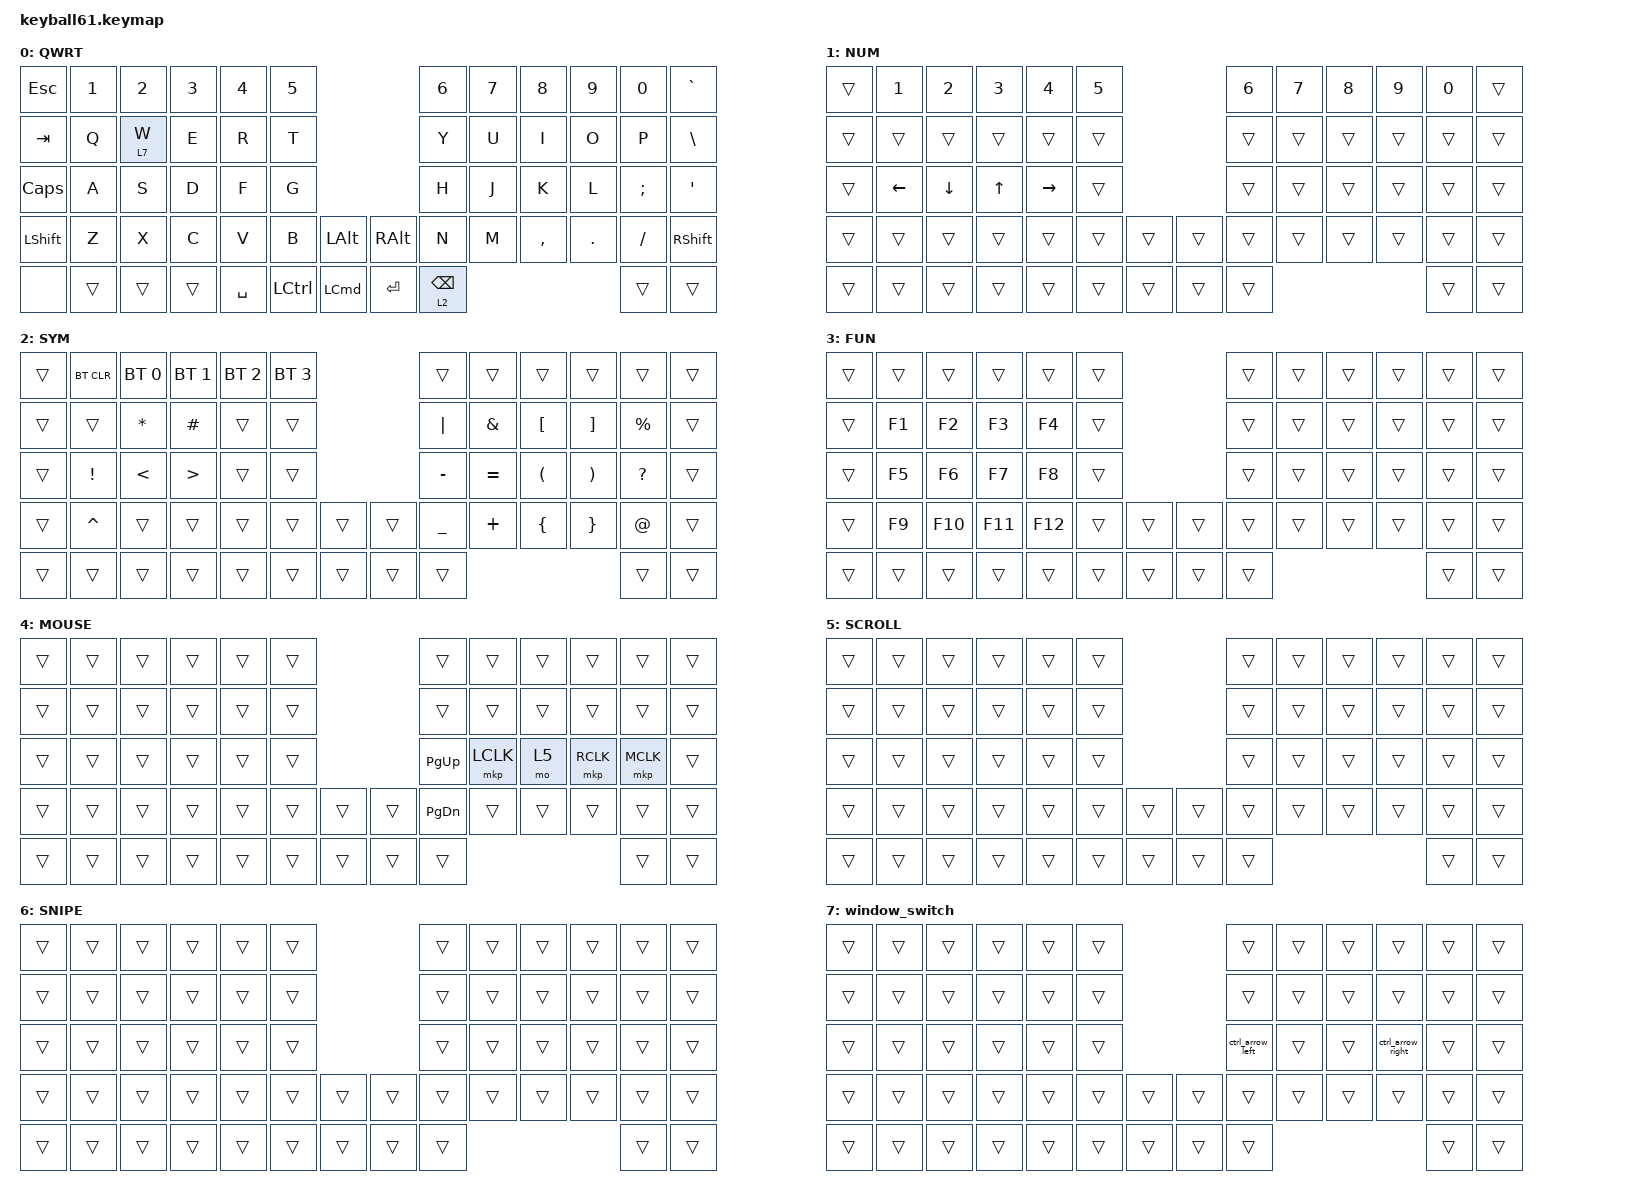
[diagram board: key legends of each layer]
#define DEFAULT 0
#define SYM     1
#define FUN     2
#define MOUSE   3
#define SCROLL  4
#define SNIPE   5

#include <behaviors/mouse_keys.dtsi>
#include <dt-bindings/zmk/mouse.h>
#include <behaviors.dtsi>
#include <dt-bindings/zmk/bt.h>
#include <dt-bindings/zmk/keys.h>
#include <dt-bindings/zmk/pointing.h>

&nice_view_spi { cs-gpios = <&pro_micro 1 GPIO_ACTIVE_HIGH>; };

&lt {
    tapping-term-ms = <240>;
    flavor = "balanced";
    quick-tap-ms = <150>;
};

&mt {
    tapping-term-ms = <200>;
    flavor = "tap-preferred";
    quick-tap-ms = <150>;
};

/ {
    combos { compatible = "zmk,combos"; };

    macros {
        ctrl_arrow_left: ctrl_arrow_left {
            compatible = "zmk,behavior-macro";
            #binding-cells = <0>;
            bindings =
                <&macro_press>,
                <&kp LEFT_CONTROL>,
                <&macro_tap>,
                <&kp LEFT_ARROW>,
                <&macro_release>,
                <&kp LEFT_CONTROL>;

            label = "CTRL_ARROW_LEFT";
        };

        ctrl_arrow_right: ctrl_arrow_right {
            compatible = "zmk,behavior-macro";
            #binding-cells = <0>;
            bindings =
                <&macro_press>,
                <&kp LEFT_CONTROL>,
                <&macro_tap>,
                <&kp RIGHT_ARROW>,
                <&macro_release>,
                <&kp LEFT_CONTROL>;

            label = "CTRL_ARROW_RIGHT";
        };
    };

    keymap {
        compatible = "zmk,keymap";

        default_layer {
            label = "QWRT";
            bindings = <
&kp ESC         &kp N1  &kp N2   &kp N3  &kp N4     &kp N5                                             &kp N6           &kp N7  &kp N8     &kp N9   &kp N0    &kp GRAVE
&kp TAB         &kp Q   &lt 7 W  &kp E   &kp R      &kp T                                              &kp Y            &kp U   &kp I      &kp O    &kp P     &kp BACKSLASH
&kp CAPS        &kp A   &kp S    &kp D   &kp F      &kp G                                              &kp H            &kp J   &kp K      &kp L    &kp SEMI  &kp SQT
&kp LEFT_SHIFT  &kp Z   &kp X    &kp C   &kp V      &kp B             &kp LEFT_ALT      &kp RIGHT_ALT  &kp N            &kp M   &kp COMMA  &kp DOT  &kp FSLH  &kp RIGHT_SHIFT
&none           &trans  &trans   &trans  &kp SPACE  &kp LEFT_CONTROL  &kp LEFT_COMMAND  &kp ENTER      &lt 2 BACKSPACE                              &trans    &trans
            >;
        };

        number_layer {
            bindings = <
&trans  &kp N1    &kp N2    &kp N3  &kp N4     &kp N5                  &kp N6  &kp N7  &kp N8  &kp N9  &kp N0  &trans
&trans  &trans    &trans    &trans  &trans     &trans                  &trans  &trans  &trans  &trans  &trans  &trans
&trans  &kp LEFT  &kp DOWN  &kp UP  &kp RIGHT  &trans                  &trans  &trans  &trans  &trans  &trans  &trans
&trans  &trans    &trans    &trans  &trans     &trans  &trans  &trans  &trans  &trans  &trans  &trans  &trans  &trans
&trans  &trans    &trans    &trans  &trans     &trans  &trans  &trans  &trans                          &trans  &trans
            >;

            label = "NUM";
        };

        symbol_layer {
            label = "SYM";
            bindings = <
&trans  &bt BT_CLR       &bt BT_SEL 0   &bt BT_SEL 1      &bt BT_SEL 2  &bt BT_SEL 3                  &trans          &trans         &trans                &trans                 &trans        &trans
&trans  &trans           &kp ASTERISK   &kp HASH          &trans        &trans                        &kp PIPE        &kp AMPERSAND  &kp LEFT_BRACKET      &kp RIGHT_BRACKET      &kp PERCENT   &trans
&trans  &kp EXCLAMATION  &kp LESS_THAN  &kp GREATER_THAN  &trans        &trans                        &kp MINUS       &kp EQUAL      &kp LEFT_PARENTHESIS  &kp RIGHT_PARENTHESIS  &kp QUESTION  &trans
&trans  &kp CARET        &trans         &trans            &trans        &trans        &trans  &trans  &kp UNDERSCORE  &kp PLUS       &kp LEFT_BRACE        &kp RIGHT_BRACE        &kp AT        &trans
&trans  &trans           &trans         &trans            &trans        &trans        &trans  &trans  &trans                                                                      &trans        &trans
            >;
        };

        function_layer {
            label = "FUN";
            bindings = <
&trans  &trans  &trans   &trans   &trans   &trans                  &trans  &trans  &trans  &trans  &trans  &trans
&trans  &kp F1  &kp F2   &kp F3   &kp F4   &trans                  &trans  &trans  &trans  &trans  &trans  &trans
&trans  &kp F5  &kp F6   &kp F7   &kp F8   &trans                  &trans  &trans  &trans  &trans  &trans  &trans
&trans  &kp F9  &kp F10  &kp F11  &kp F12  &trans  &trans  &trans  &trans  &trans  &trans  &trans  &trans  &trans
&trans  &trans  &trans   &trans   &trans   &trans  &trans  &trans  &trans                          &trans  &trans
            >;
        };

        mouse_layer {
            label = "MOUSE";
            bindings = <
&trans  &trans  &trans  &trans  &trans  &trans                  &trans         &trans     &trans  &trans     &trans     &trans
&trans  &trans  &trans  &trans  &trans  &trans                  &trans         &trans     &trans  &trans     &trans     &trans
&trans  &trans  &trans  &trans  &trans  &trans                  &kp PAGE_UP    &mkp LCLK  &mo 5   &mkp RCLK  &mkp MCLK  &trans
&trans  &trans  &trans  &trans  &trans  &trans  &trans  &trans  &kp PAGE_DOWN  &trans     &trans  &trans     &trans     &trans
&trans  &trans  &trans  &trans  &trans  &trans  &trans  &trans  &trans                                       &trans     &trans
            >;
        };

        scroll_layer {
            label = "SCROLL";
            bindings = <
&trans  &trans  &trans  &trans  &trans  &trans                  &trans  &trans  &trans  &trans  &trans  &trans
&trans  &trans  &trans  &trans  &trans  &trans                  &trans  &trans  &trans  &trans  &trans  &trans
&trans  &trans  &trans  &trans  &trans  &trans                  &trans  &trans  &trans  &trans  &trans  &trans
&trans  &trans  &trans  &trans  &trans  &trans  &trans  &trans  &trans  &trans  &trans  &trans  &trans  &trans
&trans  &trans  &trans  &trans  &trans  &trans  &trans  &trans  &trans                          &trans  &trans
            >;
        };

        snipe_layer {
            label = "SNIPE";
            bindings = <
&trans  &trans  &trans  &trans  &trans  &trans                  &trans  &trans  &trans  &trans  &trans  &trans
&trans  &trans  &trans  &trans  &trans  &trans                  &trans  &trans  &trans  &trans  &trans  &trans
&trans  &trans  &trans  &trans  &trans  &trans                  &trans  &trans  &trans  &trans  &trans  &trans
&trans  &trans  &trans  &trans  &trans  &trans  &trans  &trans  &trans  &trans  &trans  &trans  &trans  &trans
&trans  &trans  &trans  &trans  &trans  &trans  &trans  &trans  &trans                          &trans  &trans
            >;
        };

        window_switch {
            bindings = <
&trans  &trans  &trans  &trans  &trans  &trans                  &trans            &trans  &trans  &trans             &trans  &trans
&trans  &trans  &trans  &trans  &trans  &trans                  &trans            &trans  &trans  &trans             &trans  &trans
&trans  &trans  &trans  &trans  &trans  &trans                  &ctrl_arrow_left  &trans  &trans  &ctrl_arrow_right  &trans  &trans
&trans  &trans  &trans  &trans  &trans  &trans  &trans  &trans  &trans            &trans  &trans  &trans             &trans  &trans
&trans  &trans  &trans  &trans  &trans  &trans  &trans  &trans  &trans                                               &trans  &trans
            >;
        };
    };
};
